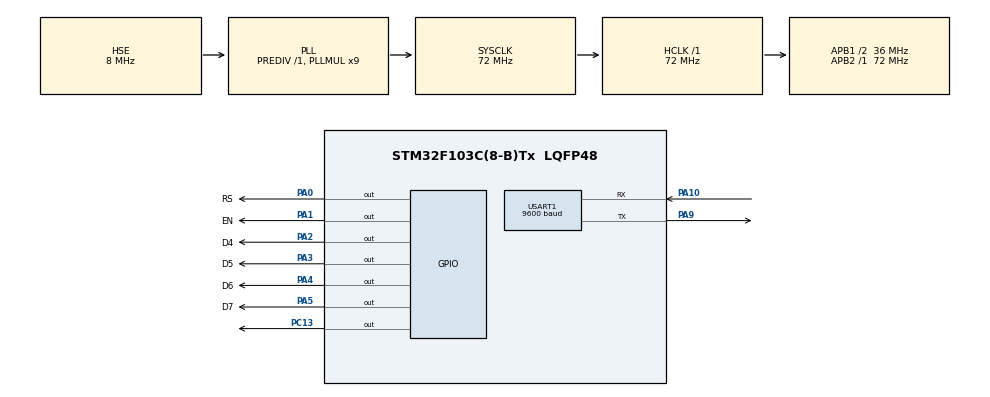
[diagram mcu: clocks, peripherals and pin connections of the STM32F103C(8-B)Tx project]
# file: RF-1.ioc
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Dma.Request0=USART1_RX
Dma.USART1_RX.0.Direction=DMA_PERIPH_TO_MEMORY
Dma.USART1_RX.0.Instance=DMA1_Channel5
Dma.USART1_RX.0.MemDataAlignment=DMA_MDATAALIGN_BYTE
Dma.USART1_RX.0.MemInc=DMA_MINC_ENABLE
Dma.USART1_RX.0.Mode=DMA_CIRCULAR
Dma.USART1_RX.0.PeriphDataAlignment=DMA_PDATAALIGN_BYTE
Dma.USART1_RX.0.PeriphInc=DMA_PINC_DISABLE
Dma.USART1_RX.0.Priority=DMA_PRIORITY_VERY_HIGH
Mcu.Family=STM32F1
Mcu.Name=STM32F103C(8-B)Tx
Mcu.Package=LQFP48
NVIC.DMA1_Channel5_IRQn=true\:0\:0\:false\:false\:true\:false
NVIC.PriorityGroup=NVIC_PRIORITYGROUP_4
NVIC.TIM4_IRQn=true\:0\:0\:false\:false\:true\:false
NVIC.TimeBase=TIM4_IRQn
NVIC.TimeBaseIP=TIM4
PA0-WKUP.GPIO_Label=RS
PA0-WKUP.GPIO_Speed=GPIO_SPEED_FREQ_MEDIUM
PA0-WKUP.Signal=GPIO_Output
PA1.GPIO_Label=EN
PA1.GPIO_Speed=GPIO_SPEED_FREQ_MEDIUM
PA1.Signal=GPIO_Output
PA10.Mode=Asynchronous
PA10.Signal=USART1_RX
PA13.Mode=Serial_Wire
PA13.Signal=SYS_JTMS-SWDIO
PA14.Mode=Serial_Wire
PA14.Signal=SYS_JTCK-SWCLK
PA2.GPIO_Label=D4
PA2.GPIO_Speed=GPIO_SPEED_FREQ_MEDIUM
PA2.Signal=GPIO_Output
PA3.GPIO_Label=D5
PA3.GPIO_Speed=GPIO_SPEED_FREQ_MEDIUM
PA3.Signal=GPIO_Output
PA4.GPIO_Label=D6
PA4.GPIO_Speed=GPIO_SPEED_FREQ_MEDIUM
PA4.Signal=GPIO_Output
PA5.GPIO_Label=D7
PA5.GPIO_Speed=GPIO_SPEED_FREQ_MEDIUM
PA5.Signal=GPIO_Output
PA9.Mode=Asynchronous
PA9.Signal=USART1_TX
PC13-TAMPER-RTC.GPIO_Speed=GPIO_SPEED_FREQ_LOW
PC13-TAMPER-RTC.Signal=GPIO_Output
PD0-OSC_IN.Mode=HSE-External-Oscillator
PD0-OSC_IN.Signal=RCC_OSC_IN
PD1-OSC_OUT.Mode=HSE-External-Oscillator
PD1-OSC_OUT.Signal=RCC_OSC_OUT
ProjectManager.HeapSize=0x200
ProjectManager.StackSize=0x400
ProjectManager.TargetToolchain=MDK-ARM V5
RCC.AHBFreq_Value=72000000
RCC.APB1CLKDivider=RCC_HCLK_DIV2
RCC.APB1Freq_Value=36000000
RCC.APB1TimFreq_Value=72000000
RCC.APB2Freq_Value=72000000
RCC.APB2TimFreq_Value=72000000
RCC.HCLKFreq_Value=72000000
RCC.PLLMUL=RCC_PLL_MUL9
RCC.PLLSourceVirtual=RCC_PLLSOURCE_HSE
RCC.SYSCLKFreq_VALUE=72000000
RCC.SYSCLKSource=RCC_SYSCLKSOURCE_PLLCLK
RCC.USBFreq_Value=72000000
USART1.BaudRate=9600
USART1.VirtualMode=VM_ASYNC
VP_SYS_VS_tim4.Mode=TIM4
board=custom

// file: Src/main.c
/**
  ******************************************************************************
  * @file           : main.c
  * @brief          : Main program body
  ******************************************************************************
  ** This notice applies to any and all portions of this file
  * that are not between comment pairs USER CODE BEGIN and
  * USER CODE END. Other portions of this file, whether
  * inserted by the user or by software development tools
  * are owned by their respective copyright owners.
  *
  * COPYRIGHT(c) 2019 STMicroelectronics
  *
  * Redistribution and use in source and binary forms, with or without modification,
  * are permitted provided that the following conditions are met:
  *   1. Redistributions of source code must retain the above copyright notice,
  *      this list of conditions and the following disclaimer.
  *   2. Redistributions in binary form must reproduce the above copyright notice,
  *      this list of conditions and the following disclaimer in the documentation
  *      and/or other materials provided with the distribution.
  *   3. Neither the name of STMicroelectronics nor the names of its contributors
  *      may be used to endorse or promote products derived from this software
  *      without specific prior written permission.
  *
  * THIS SOFTWARE IS PROVIDED BY THE COPYRIGHT HOLDERS AND CONTRIBUTORS "AS IS"
  * AND ANY EXPRESS OR IMPLIED WARRANTIES, INCLUDING, BUT NOT LIMITED TO, THE
  * IMPLIED WARRANTIES OF MERCHANTABILITY AND FITNESS FOR A PARTICULAR PURPOSE ARE
  * DISCLAIMED. IN NO EVENT SHALL THE COPYRIGHT HOLDER OR CONTRIBUTORS BE LIABLE
  * FOR ANY DIRECT, INDIRECT, INCIDENTAL, SPECIAL, EXEMPLARY, OR CONSEQUENTIAL
  * DAMAGES (INCLUDING, BUT NOT LIMITED TO, PROCUREMENT OF SUBSTITUTE GOODS OR
  * SERVICES; LOSS OF USE, DATA, OR PROFITS; OR BUSINESS INTERRUPTION) HOWEVER
  * CAUSED AND ON ANY THEORY OF LIABILITY, WHETHER IN CONTRACT, STRICT LIABILITY,
  * OR TORT (INCLUDING NEGLIGENCE OR OTHERWISE) ARISING IN ANY WAY OUT OF THE USE
  * OF THIS SOFTWARE, EVEN IF ADVISED OF THE POSSIBILITY OF SUCH DAMAGE.
  *
  ******************************************************************************
  */
#include "main.h"
#include "stm32f1xx_hal.h"

/* USER CODE BEGIN Includes */
#include "string.h"

/* USER CODE END Includes */

UART_HandleTypeDef huart1;
DMA_HandleTypeDef hdma_usart1_rx;

/* USER CODE BEGIN PV */
/* Private variables ---------------------------------------------------------*/

/* USER CODE END PV */

void SystemClock_Config(void);
static void MX_GPIO_Init(void);
static void MX_DMA_Init(void);
static void MX_USART1_UART_Init(void);

/* USER CODE BEGIN PFP */
/* Private function prototypes -----------------------------------------------*/

/* USER CODE END PFP */

/* USER CODE BEGIN 0 */

uint8_t data[60];
char t_str[100];
int xx =2;

/* USER CODE END 0 */

int main(void)
{

  /* MCU Configuration----------------------------------------------------------*/

  /* Reset of all peripherals, Initializes the Flash interface and the Systick. */
  HAL_Init();

  /* Configure the system clock */
  SystemClock_Config();

  /* Initialize all configured peripherals */
  MX_GPIO_Init();
  MX_DMA_Init();
  MX_USART1_UART_Init();
  /* USER CODE BEGIN 2 */

	HAL_GPIO_WritePin(GPIOC,GPIO_PIN_13,GPIO_PIN_RESET);
		HAL_Delay(1000);
 	HAL_GPIO_WritePin(GPIOC,GPIO_PIN_13,GPIO_PIN_SET);
		HAL_Delay(1000);

HAL_UART_Receive_DMA(&huart1,data,1);

  /* USER CODE END 2 */

  /* Infinite loop */
  while (1)
  {

  /* USER CODE BEGIN 3 */
switch (xx){
	case 0:
		HAL_GPIO_WritePin(GPIOC,GPIO_PIN_13,GPIO_PIN_SET);
	break;
	case 1:
		HAL_GPIO_WritePin(GPIOC,GPIO_PIN_13,GPIO_PIN_RESET);
	break;
	case 2:
		HAL_GPIO_TogglePin(GPIOC,GPIO_PIN_13);
		HAL_Delay(100);
	break;

}

  }
  /* USER CODE END 3 */

}

void SystemClock_Config(void)
{

  RCC_OscInitTypeDef RCC_OscInitStruct;
  RCC_ClkInitTypeDef RCC_ClkInitStruct;

    /**Initializes the CPU, AHB and APB busses clocks
    */
  RCC_OscInitStruct.OscillatorType = RCC_OSCILLATORTYPE_HSE;
  RCC_OscInitStruct.HSEState = RCC_HSE_ON;
  RCC_OscInitStruct.HSEPredivValue = RCC_HSE_PREDIV_DIV1;
  RCC_OscInitStruct.HSIState = RCC_HSI_ON;
  RCC_OscInitStruct.PLL.PLLState = RCC_PLL_ON;
  RCC_OscInitStruct.PLL.PLLSource = RCC_PLLSOURCE_HSE;
  RCC_OscInitStruct.PLL.PLLMUL = RCC_PLL_MUL9;
  if (HAL_RCC_OscConfig(&RCC_OscInitStruct) != HAL_OK)
  {
    _Error_Handler(__FILE__, __LINE__);
  }

    /**Initializes the CPU, AHB and APB busses clocks
    */
  RCC_ClkInitStruct.ClockType = RCC_CLOCKTYPE_HCLK|RCC_CLOCKTYPE_SYSCLK
                              |RCC_CLOCKTYPE_PCLK1|RCC_CLOCKTYPE_PCLK2;
  RCC_ClkInitStruct.SYSCLKSource = RCC_SYSCLKSOURCE_PLLCLK;
  RCC_ClkInitStruct.AHBCLKDivider = RCC_SYSCLK_DIV1;
  RCC_ClkInitStruct.APB1CLKDivider = RCC_HCLK_DIV2;
  RCC_ClkInitStruct.APB2CLKDivider = RCC_HCLK_DIV1;

  if (HAL_RCC_ClockConfig(&RCC_ClkInitStruct, FLASH_LATENCY_2) != HAL_OK)
  {
    _Error_Handler(__FILE__, __LINE__);
  }

    /**Configure the Systick interrupt time
    */
  HAL_SYSTICK_Config(HAL_RCC_GetHCLKFreq()/1000);

    /**Configure the Systick
    */
  HAL_SYSTICK_CLKSourceConfig(SYSTICK_CLKSOURCE_HCLK);

  /* SysTick_IRQn interrupt configuration */
  HAL_NVIC_SetPriority(SysTick_IRQn, 0, 0);
}

/* USART1 init function */
static void MX_USART1_UART_Init(void)
{

  huart1.Instance = USART1;
  huart1.Init.BaudRate = 9600;
  huart1.Init.WordLength = UART_WORDLENGTH_8B;
  huart1.Init.StopBits = UART_STOPBITS_1;
  huart1.Init.Parity = UART_PARITY_NONE;
  huart1.Init.Mode = UART_MODE_TX_RX;
  huart1.Init.HwFlowCtl = UART_HWCONTROL_NONE;
  huart1.Init.OverSampling = UART_OVERSAMPLING_16;
  if (HAL_UART_Init(&huart1) != HAL_OK)
  {
    _Error_Handler(__FILE__, __LINE__);
  }

}

static void MX_DMA_Init(void)
{
  /* DMA controller clock enable */
  __HAL_RCC_DMA1_CLK_ENABLE();

  /* DMA interrupt init */
  /* DMA1_Channel5_IRQn interrupt configuration */
  HAL_NVIC_SetPriority(DMA1_Channel5_IRQn, 0, 0);
  HAL_NVIC_EnableIRQ(DMA1_Channel5_IRQn);

}

/** Configure pins as
        * Analog
        * Input
        * Output
        * EVENT_OUT
        * EXTI
*/
static void MX_GPIO_Init(void)
{

  GPIO_InitTypeDef GPIO_InitStruct;

  /* GPIO Ports Clock Enable */
  __HAL_RCC_GPIOC_CLK_ENABLE();
  __HAL_RCC_GPIOD_CLK_ENABLE();
  __HAL_RCC_GPIOA_CLK_ENABLE();

  /*Configure GPIO pin Output Level */
  HAL_GPIO_WritePin(GPIOC, GPIO_PIN_13, GPIO_PIN_RESET);

  /*Configure GPIO pin Output Level */
  HAL_GPIO_WritePin(GPIOA, RS_Pin|EN_Pin|D4_Pin|D5_Pin
                          |D6_Pin|D7_Pin, GPIO_PIN_RESET);

  /*Configure GPIO pin : PC13 */
  GPIO_InitStruct.Pin = GPIO_PIN_13;
  GPIO_InitStruct.Mode = GPIO_MODE_OUTPUT_PP;
  GPIO_InitStruct.Pull = GPIO_NOPULL;
  GPIO_InitStruct.Speed = GPIO_SPEED_FREQ_LOW;
  HAL_GPIO_Init(GPIOC, &GPIO_InitStruct);

  /*Configure GPIO pins : RS_Pin EN_Pin D4_Pin D5_Pin
                           D6_Pin D7_Pin */
  GPIO_InitStruct.Pin = RS_Pin|EN_Pin|D4_Pin|D5_Pin
                          |D6_Pin|D7_Pin;
  GPIO_InitStruct.Mode = GPIO_MODE_OUTPUT_PP;
  GPIO_InitStruct.Pull = GPIO_NOPULL;
  GPIO_InitStruct.Speed = GPIO_SPEED_FREQ_MEDIUM;
  HAL_GPIO_Init(GPIOA, &GPIO_InitStruct);

}

/* USER CODE BEGIN 4 */
int a=0;
void HAL_UART_RxCpltCallback(UART_HandleTypeDef *huart)
{
  /* Prevent unused argument(s) compilation warning */
  UNUSED(huart);
  /* NOTE: This function Should not be modified, when the callback is needed,
           the HAL_UART_RxCpltCallback could be implemented in the user file
   */
	sprintf(t_str, "-%d\t",data[0]);
	HAL_UART_Transmit(&huart1,(unsigned char*)t_str,strlen(t_str),100);

}

/* USER CODE END 4 */

void HAL_TIM_PeriodElapsedCallback(TIM_HandleTypeDef *htim)
{
  if (htim->Instance == TIM4) {
    HAL_IncTick();
  }
}

void _Error_Handler(char *file, int line)
{
  while(1)
  {
  }
}

/************************ (C) COPYRIGHT STMicroelectronics *****END OF FILE****/
